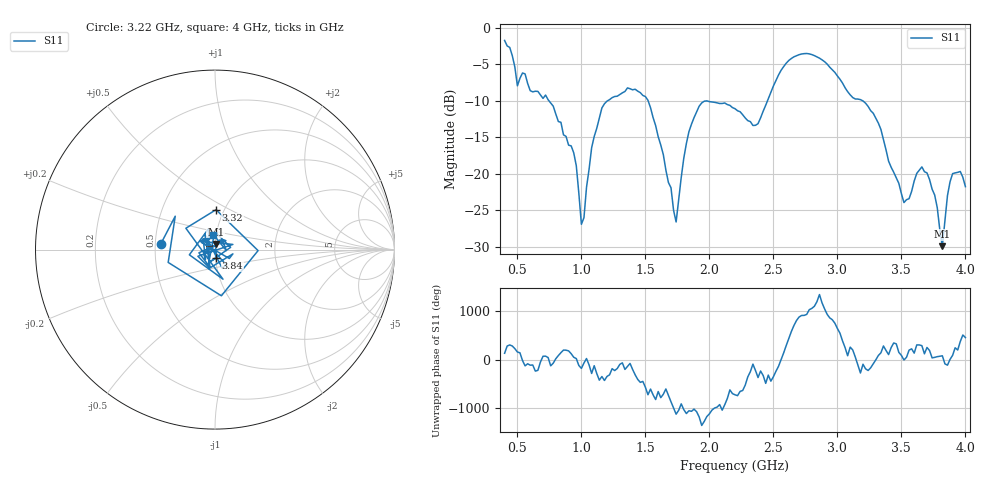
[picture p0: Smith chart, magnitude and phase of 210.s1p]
!Created with skrf (http://scikit-rf.org).
# Hz S RI R 50.0
!freq ReS11 ImS11
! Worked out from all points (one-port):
!   181 points, 400 MHz to 4 GHz, reference 50 ohm
!   lowest |S11| = -29.9 dB at 3.82 GHz (marker M1), VSWR 1.07, Z = 50.3 + j3.19 ohm
!   |S11| at or under -10 dB: 746.3 MHz to 1.205 GHz (458.7 MHz wide, 47 % of centre); 1.521 GHz to 2.454 GHz (932.9 MHz wide, 46.9 % of centre); 3.197 GHz to end of sweep
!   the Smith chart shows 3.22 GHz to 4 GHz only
!   S11 on the Smith chart (normalised r, x): 3.22 GHz: 0.53, +0.04; 3.32 GHz: 0.92, +0.43; 3.84 GHz: 1.01, -0.10; 4 GHz: 0.96, +0.16
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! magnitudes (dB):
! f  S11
! 400 MHz  -1.7
! 500 MHz  -8.0
! 720 MHz  -9.2
! 860 MHz  -14.7
! 940 MHz  -17.1
! 1 GHz  -26.9
! 1.08 GHz  -16.4
! 1.16 GHz  -11.0
! 1.3 GHz  -9.2
! 1.52 GHz  -9.9
! 1.74 GHz  -26.6
! 1.76 GHz  -23.5
! 1.84 GHz  -14.2
! 1.92 GHz  -10.7
! 2.2 GHz  -11.1
! 2.38 GHz  -13.1
! 2.66 GHz  -4.0
! 2.88 GHz  -4.4
! 3.1 GHz  -9.2
! 3.22 GHz  -10.3
! 3.32 GHz  -13.1
! 3.52 GHz  -23.9
! 3.56 GHz  -23.4
! 3.7 GHz  -19.9
! 3.82 GHz  -29.9
! 3.84 GHz  -26.4
! 3.9 GHz  -20.0
! 4 GHz  -21.7
